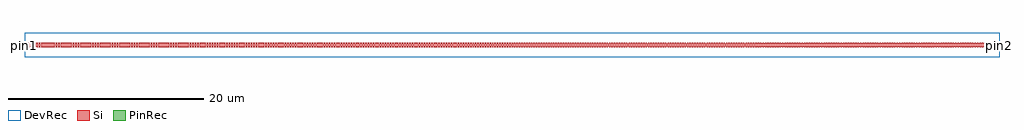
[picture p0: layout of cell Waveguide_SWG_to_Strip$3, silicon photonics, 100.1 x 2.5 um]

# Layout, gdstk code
import gdstk
lib = gdstk.Library(unit=1e-6, precision=1e-09)
def R(c, l, rs):  # rectangles x0, y0, x1, y1
    for r in rs: c.add(gdstk.rectangle(r[:2], r[2:], *l))
def A(c, l, x, y, w, h, nx, ny, dx, dy):  # array of equal rectangles
    R(c, l, [(x+i*dx, y+j*dy, x+i*dx+w, y+j*dy+h) for i in range(nx) for j in range(ny)])
def P(c, l, *ps):  # polygons
    for p in ps: c.add(gdstk.Polygon(p, *l))
Si = (1, 0)
PinRec = (1, 10)
DevRec = (68, 0)

waveguide_swg_to_strip_3 = lib.new_cell('Waveguide_SWG_to_Strip$3')
A(waveguide_swg_to_strip_3, Si, 0.912, -0.25, 0.174, 0.5, 5, 1, 0.25, 0)
A(waveguide_swg_to_strip_3, Si, 3.412, -0.25, 0.173, 0.5, 5, 1, 0.25, 0)
A(waveguide_swg_to_strip_3, Si, 4.912, -0.25, 0.172, 0.5, 3, 1, 0.25, 0)
A(waveguide_swg_to_strip_3, Si, 7.412, -0.25, 0.171, 0.5, 3, 1, 0.25, 0)
A(waveguide_swg_to_strip_3, Si, 8.912, -0.25, 0.17, 0.5, 3, 1, 0.25, 0)
A(waveguide_swg_to_strip_3, Si, 9.912, -0.25, 0.17, 0.5, 3, 1, 0.25, 0)
A(waveguide_swg_to_strip_3, Si, 11.412, -0.25, 0.169, 0.5, 3, 1, 0.25, 0)
A(waveguide_swg_to_strip_3, Si, 12.912, -0.25, 0.168, 0.5, 3, 1, 0.25, 0)
A(waveguide_swg_to_strip_3, Si, 13.912, -0.25, 0.168, 0.5, 3, 1, 0.25, 0)
A(waveguide_swg_to_strip_3, Si, 14.912, -0.25, 0.167, 0.5, 5, 1, 0.25, 0)
A(waveguide_swg_to_strip_3, Si, 17.412, -0.25, 0.166, 0.5, 5, 1, 0.25, 0)
A(waveguide_swg_to_strip_3, Si, 18.912, -0.25, 0.165, 0.5, 3, 1, 0.25, 0)
A(waveguide_swg_to_strip_3, Si, 19.912, -0.25, 0.165, 0.5, 4, 1, 0.25, 0)
A(waveguide_swg_to_strip_3, Si, 21.412, -0.25, 0.164, 0.5, 3, 1, 0.25, 0)
A(waveguide_swg_to_strip_3, Si, 22.912, -0.25, 0.163, 0.5, 3, 1, 0.25, 0)
A(waveguide_swg_to_strip_3, Si, 23.912, -0.25, 0.163, 0.5, 3, 1, 0.25, 0)
A(waveguide_swg_to_strip_3, Si, 24.912, -0.25, 0.162, 0.5, 5, 1, 0.25, 0)
A(waveguide_swg_to_strip_3, Si, 26.912, -0.25, 0.161, 0.5, 7, 1, 0.25, 0)
A(waveguide_swg_to_strip_3, Si, 28.912, -0.25, 0.16, 0.5, 8, 1, 0.25, 0)
A(waveguide_swg_to_strip_3, Si, 31.412, -0.25, 0.159, 0.5, 6, 1, 0.25, 0)
A(waveguide_swg_to_strip_3, Si, 32.912, -0.25, 0.158, 0.5, 3, 1, 0.25, 0)
A(waveguide_swg_to_strip_3, Si, 33.912, -0.25, 0.158, 0.5, 4, 1, 0.25, 0)
A(waveguide_swg_to_strip_3, Si, 34.912, -0.25, 0.157, 0.5, 5, 1, 0.25, 0)
A(waveguide_swg_to_strip_3, Si, 36.912, -0.25, 0.156, 0.5, 7, 1, 0.25, 0)
A(waveguide_swg_to_strip_3, Si, 38.912, -0.25, 0.155, 0.5, 8, 1, 0.25, 0)
A(waveguide_swg_to_strip_3, Si, 41.412, -0.25, 0.154, 0.5, 6, 1, 0.25, 0)
A(waveguide_swg_to_strip_3, Si, 42.912, -0.25, 0.153, 0.5, 3, 1, 0.25, 0)
A(waveguide_swg_to_strip_3, Si, 43.912, -0.25, 0.153, 0.5, 4, 1, 0.25, 0)
A(waveguide_swg_to_strip_3, Si, 44.912, -0.25, 0.152, 0.5, 5, 1, 0.25, 0)
A(waveguide_swg_to_strip_3, Si, 46.912, -0.25, 0.151, 0.5, 8, 1, 0.25, 0)
A(waveguide_swg_to_strip_3, Si, 48.912, -0.25, 0.15, 0.5, 8, 1, 0.25, 0)
A(waveguide_swg_to_strip_3, Si, 50.912, -0.25, 0.149, 0.5, 8, 1, 0.25, 0)
A(waveguide_swg_to_strip_3, Si, 53.662, -0.25, 0.148, 0.5, 5, 1, 0.25, 0)
A(waveguide_swg_to_strip_3, Si, 54.912, -0.25, 0.147, 0.5, 4, 1, 0.25, 0)
A(waveguide_swg_to_strip_3, Si, 56.162, -0.25, 0.147, 0.5, 3, 1, 0.25, 0)
A(waveguide_swg_to_strip_3, Si, 56.912, -0.25, 0.146, 0.5, 6, 1, 0.25, 0)
A(waveguide_swg_to_strip_3, Si, 58.912, -0.25, 0.145, 0.5, 8, 1, 0.25, 0)
A(waveguide_swg_to_strip_3, Si, 61.162, -0.25, 0.144, 0.5, 7, 1, 0.25, 0)
A(waveguide_swg_to_strip_3, Si, 63.662, -0.25, 0.143, 0.5, 5, 1, 0.25, 0)
A(waveguide_swg_to_strip_3, Si, 64.912, -0.25, 0.142, 0.5, 4, 1, 0.25, 0)
A(waveguide_swg_to_strip_3, Si, 66.162, -0.25, 0.142, 0.5, 3, 1, 0.25, 0)
A(waveguide_swg_to_strip_3, Si, 66.912, -0.25, 0.141, 0.5, 6, 1, 0.25, 0)
A(waveguide_swg_to_strip_3, Si, 68.912, -0.25, 0.14, 0.5, 8, 1, 0.25, 0)
A(waveguide_swg_to_strip_3, Si, 71.162, -0.25, 0.139, 0.5, 7, 1, 0.25, 0)
A(waveguide_swg_to_strip_3, Si, 73.662, -0.25, 0.138, 0.5, 5, 1, 0.25, 0)
A(waveguide_swg_to_strip_3, Si, 75.162, -0.25, 0.137, 0.5, 3, 1, 0.25, 0)
A(waveguide_swg_to_strip_3, Si, 76.162, -0.25, 0.137, 0.5, 3, 1, 0.25, 0)
A(waveguide_swg_to_strip_3, Si, 77.662, -0.25, 0.136, 0.5, 3, 1, 0.25, 0)
A(waveguide_swg_to_strip_3, Si, 78.912, -0.25, 0.135, 0.5, 4, 1, 0.25, 0)
A(waveguide_swg_to_strip_3, Si, 80.162, -0.25, 0.135, 0.5, 3, 1, 0.25, 0)
A(waveguide_swg_to_strip_3, Si, 81.162, -0.25, 0.134, 0.5, 5, 1, 0.25, 0)
A(waveguide_swg_to_strip_3, Si, 83.662, -0.25, 0.133, 0.5, 5, 1, 0.25, 0)
A(waveguide_swg_to_strip_3, Si, 85.162, -0.25, 0.132, 0.5, 3, 1, 0.25, 0)
A(waveguide_swg_to_strip_3, Si, 86.162, -0.25, 0.132, 0.5, 3, 1, 0.25, 0)
A(waveguide_swg_to_strip_3, Si, 87.662, -0.25, 0.131, 0.5, 3, 1, 0.25, 0)
A(waveguide_swg_to_strip_3, Si, 89.162, -0.25, 0.13, 0.5, 3, 1, 0.25, 0)
A(waveguide_swg_to_strip_3, Si, 90.162, -0.25, 0.13, 0.5, 3, 1, 0.25, 0)
A(waveguide_swg_to_strip_3, Si, 91.662, -0.25, 0.129, 0.5, 3, 1, 0.25, 0)
A(waveguide_swg_to_strip_3, Si, 93.162, -0.25, 0.128, 0.5, 3, 1, 0.5, 0)
A(waveguide_swg_to_strip_3, Si, 95.162, -0.25, 0.127, 0.5, 5, 1, 0.25, 0)
A(waveguide_swg_to_strip_3, Si, 97.662, -0.25, 0.126, 0.5, 5, 1, 0.25, 0)
R(waveguide_swg_to_strip_3, Si, [(-0.087,-0.25,0.087,0.25), (0.162,-0.25,0.337,0.25), (0.412,-0.25,0.587,0.25), (2.412,-0.25,2.586,0.25), (2.662,-0.25,2.836,0.25), (2.912,-0.25,3.085,0.25), (5.912,-0.25,6.084,0.25), (6.412,-0.25,6.584,0.25), (6.662,-0.25,6.834,0.25), (6.912,-0.25,7.083,0.25), (8.412,-0.25,8.583,0.25), (10.912,-0.25,11.081,0.25), (12.412,-0.25,12.581,0.25), (12.662,-0.25,12.831,0.25), (16.412,-0.25,16.579,0.25), (16.662,-0.25,16.829,0.25), (16.912,-0.25,17.078,0.25), (20.912,-0.25,21.076,0.25), (22.412,-0.25,22.576,0.25), (22.662,-0.25,22.826,0.25), (26.412,-0.25,26.574,0.25), (26.662,-0.25,26.824,0.25), (30.912,-0.25,31.071,0.25), (36.412,-0.25,36.569,0.25), (36.662,-0.25,36.819,0.25), (40.912,-0.25,41.066,0.25), (46.412,-0.25,46.564,0.25), (46.662,-0.25,46.814,0.25), (52.912,-0.25,53.06,0.25), (53.162,-0.25,53.31,0.25), (58.662,-0.25,58.808,0.25), (62.912,-0.25,63.055,0.25), (63.162,-0.25,63.305,0.25), (68.662,-0.25,68.803,0.25), (72.912,-0.25,73.05,0.25), (73.162,-0.25,73.3,0.25), (76.912,-0.25,77.048,0.25), (77.162,-0.25,77.298,0.25), (78.662,-0.25,78.798,0.25), (82.662,-0.25,82.796,0.25), (82.912,-0.25,83.045,0.25), (83.162,-0.25,83.295,0.25), (86.912,-0.25,87.043,0.25), (87.162,-0.25,87.293,0.25), (88.662,-0.25,88.793,0.25), (91.162,-0.25,91.291,0.25), (92.662,-0.25,92.791,0.25), (92.912,-0.25,93.04,0.25), (94.412,-0.25,94.54,0.25), (94.662,-0.25,94.79,0.25), (96.662,-0.25,96.789,0.25), (96.912,-0.25,97.038,0.25), (97.162,-0.25,97.288,0.25), (99.162,-0.25,99.287,0.25), (99.412,-0.25,99.537,0.25), (0.662,-0.249,0.837,0.249), (2.162,-0.249,2.336,0.249), (3.162,-0.249,3.335,0.249), (4.662,-0.249,4.835,0.249), (5.662,-0.249,5.834,0.249), (6.162,-0.249,6.334,0.249), (7.162,-0.249,7.333,0.249), (8.162,-0.249,8.333,0.249), (8.662,-0.249,8.833,0.249), (9.662,-0.249,9.832,0.249), (10.662,-0.249,10.832,0.249), (11.162,-0.249,11.331,0.249), (12.162,-0.249,12.331,0.249), (13.662,-0.249,13.83,0.249), (14.662,-0.249,14.83,0.249), (16.162,-0.249,16.329,0.249), (17.162,-0.249,17.328,0.249), (18.662,-0.249,18.828,0.249), (19.662,-0.249,19.827,0.249), (21.162,-0.249,21.326,0.249), (22.162,-0.249,22.326,0.249), (23.662,-0.249,23.825,0.249), (24.662,-0.249,24.825,0.249), (26.162,-0.249,26.324,0.249), (28.662,-0.249,28.823,0.249), (31.162,-0.249,31.321,0.249), (33.662,-0.249,33.82,0.249), (36.162,-0.249,36.319,0.249), (38.662,-0.249,38.818,0.249), (41.162,-0.249,41.316,0.249), (43.662,-0.249,43.815,0.249), (46.162,-0.249,46.314,0.249), (53.412,-0.249,53.56,0.249), (55.912,-0.249,56.059,0.249), (58.412,-0.249,58.558,0.249), (60.912,-0.249,61.056,0.249), (63.412,-0.249,63.555,0.249), (65.912,-0.249,66.054,0.249), (68.412,-0.249,68.553,0.249), (70.912,-0.249,71.051,0.249), (73.412,-0.249,73.55,0.249), (74.912,-0.249,75.049,0.249), (75.912,-0.249,76.049,0.249), (77.412,-0.249,77.548,0.249), (78.412,-0.249,78.548,0.249), (79.912,-0.249,80.047,0.249), (80.912,-0.249,81.046,0.249), (82.412,-0.249,82.546,0.249), (83.412,-0.249,83.545,0.249), (84.912,-0.249,85.044,0.249), (85.912,-0.249,86.044,0.249), (87.412,-0.249,87.543,0.249), (88.412,-0.249,88.543,0.249), (88.912,-0.249,89.042,0.249), (89.912,-0.249,90.042,0.249), (90.912,-0.249,91.041,0.249), (91.412,-0.249,91.541,0.249), (92.412,-0.249,92.541,0.249), (93.412,-0.249,93.54,0.249), (93.912,-0.249,94.04,0.249), (94.912,-0.249,95.039,0.249), (96.412,-0.249,96.539,0.249), (97.412,-0.249,97.538,0.249), (98.912,-0.249,99.037,0.249)])
P(waveguide_swg_to_strip_3, Si, [(100,-0.25),(0,-0.03),(0,0.03),(100,0.25)])
R(waveguide_swg_to_strip_3, DevRec, [(0,-1.25,100,1.25)])
waveguide_swg_to_strip_3.add(gdstk.FlexPath([(0.01,0),(-0.01,0)], 0.5, ends="flush", simple_path=True, layer=1, datatype=10))  # PinRec
waveguide_swg_to_strip_3.add(gdstk.FlexPath([(99.99,0),(100.01,0)], 0.5, ends="flush", simple_path=True, layer=1, datatype=10))  # PinRec
waveguide_swg_to_strip_3.add(gdstk.Label('pin1', (0,0), layer=1, texttype=10))
waveguide_swg_to_strip_3.add(gdstk.Label('pin2', (100,0), layer=1, texttype=10))

lib.write_gds('Waveguide_SWG_to_Strip_3.gds')
